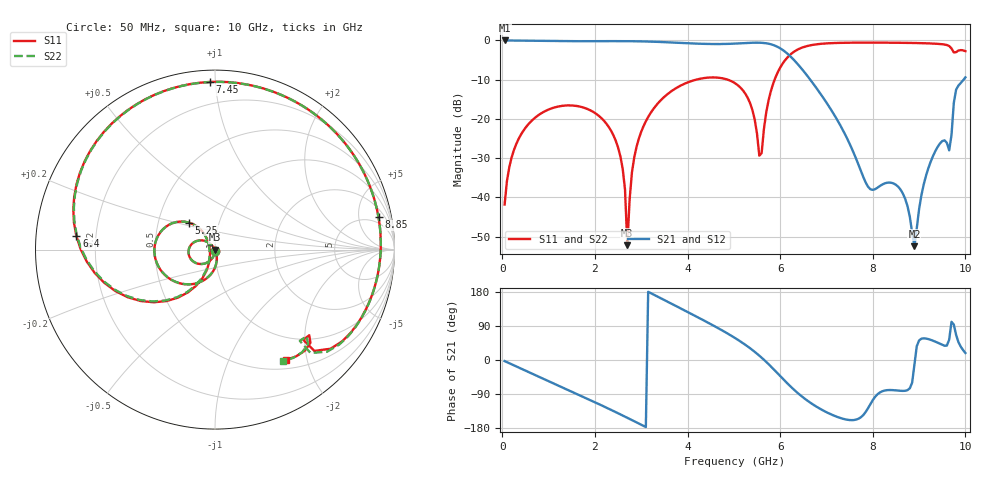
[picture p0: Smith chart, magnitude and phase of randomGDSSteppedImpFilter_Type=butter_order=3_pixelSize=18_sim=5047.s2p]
! freq	dB(S11)	phase(S11)	dB(S12)	phase(S12)
!  dB(S21)	phase(S21)	dB(S22)	phase(S22)
!S-par simulation data
#  GHz  S  DB  R 50
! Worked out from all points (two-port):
!   200 points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, 50 MHz to 10 GHz, reference 50 ohm
!   highest |S21| = -0.01 dB at 50 MHz (marker M1); lowest = -52.4 dB at 8.9 GHz (marker M2)
!   |S21| within 3 dB of the highest: start of sweep to 6.12 GHz
!   lowest |S11| = -52.2 dB at 2.7 GHz (marker M3), VSWR 1.00, Z = 49.8 - j0.0268 ohm
!   |S11| at or under -10 dB: start of sweep to 4.184 GHz; 4.866 GHz to 5.881 GHz (1.016 GHz wide, 18.9 % of centre)
!   |S22| runs from -50.2 to -0.6 dB; largest |S21 - S12| = 0
!   S11 on the Smith chart (normalised r, x): 50 MHz: 1.00, -0.02; 5.25 GHz: 0.72, +0.23; 6.4 GHz: 0.13, +0.05; 7.45 GHz: 0.07, +0.97; 8.85 GHz: 3.43, +8.95; 10 GHz: 0.63, -1.65
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0.05  -41.81 -90.8  -0.01 -2.9  -0.01 -2.9  -41.81 -90.8
0.55  -21.53 -121.1  -0.07 -30.8  -0.07 -30.8  -21.53 -121.0
1.75  -17.09 172.0  -0.20 -97.3  -0.20 -97.3  -17.09 172.2
2.5  -27.28 129.8  -0.18 -140.5  -0.18 -140.5  -27.27 130.8
2.65  -37.98 124.0  -0.19 -149.5  -0.19 -149.5  -37.90 127.9
2.7  -52.20 -173.7  -0.19 -152.5  -0.19 -152.5  -50.15 -174.3
2.9  -27.04 -76.6  -0.22 -164.6  -0.22 -164.6  -27.04 -77.8
3.4  -15.51 -106.5  -0.39 164.4  -0.39 164.4  -15.51 -106.8
5.05  -11.09 148.1  -0.80 56.2  -0.80 56.2  -11.09 148.0
5.25  -13.60 134.0  -0.67 39.9  -0.67 39.9  -13.60 134.0
5.55  -29.36 153.4  -0.58 11.5  -0.58 11.5  -29.02 154.5
5.85  -10.99 -122.3  -1.16 -23.2  -1.16 -23.2  -10.99 -123.2
6.4  -2.20 174.4  -6.31 -89.3  -6.31 -89.3  -2.20 173.6
6.7  -1.14 145.9  -10.78 -116.6  -10.78 -116.6  -1.14 145.1
7.45  -0.59 91.9  -25.06 -157.6  -25.06 -157.6  -0.59 90.9
8.35  -0.58 39.0  -36.20 -79.2  -36.20 -79.2  -0.58 37.9
8.85  -0.64 11.1  -48.95 -59.8  -48.95 -59.8  -0.65 9.9
8.9  -0.65 8.3  -52.41 -11.7  -52.41 -11.7  -0.66 7.1
9.15  -0.73 -5.9  -34.45 56.6  -34.45 56.6  -0.74 -7.2
9.65  -1.43 -40.6  -28.00 53.7  -28.00 53.7  -1.47 -42.3
9.8  -2.98 -42.3  -12.52 66.0  -12.52 66.0  -3.07 -43.4
10  -2.74 -57.4  -9.41 18.5  -9.41 18.5  -2.77 -58.8
